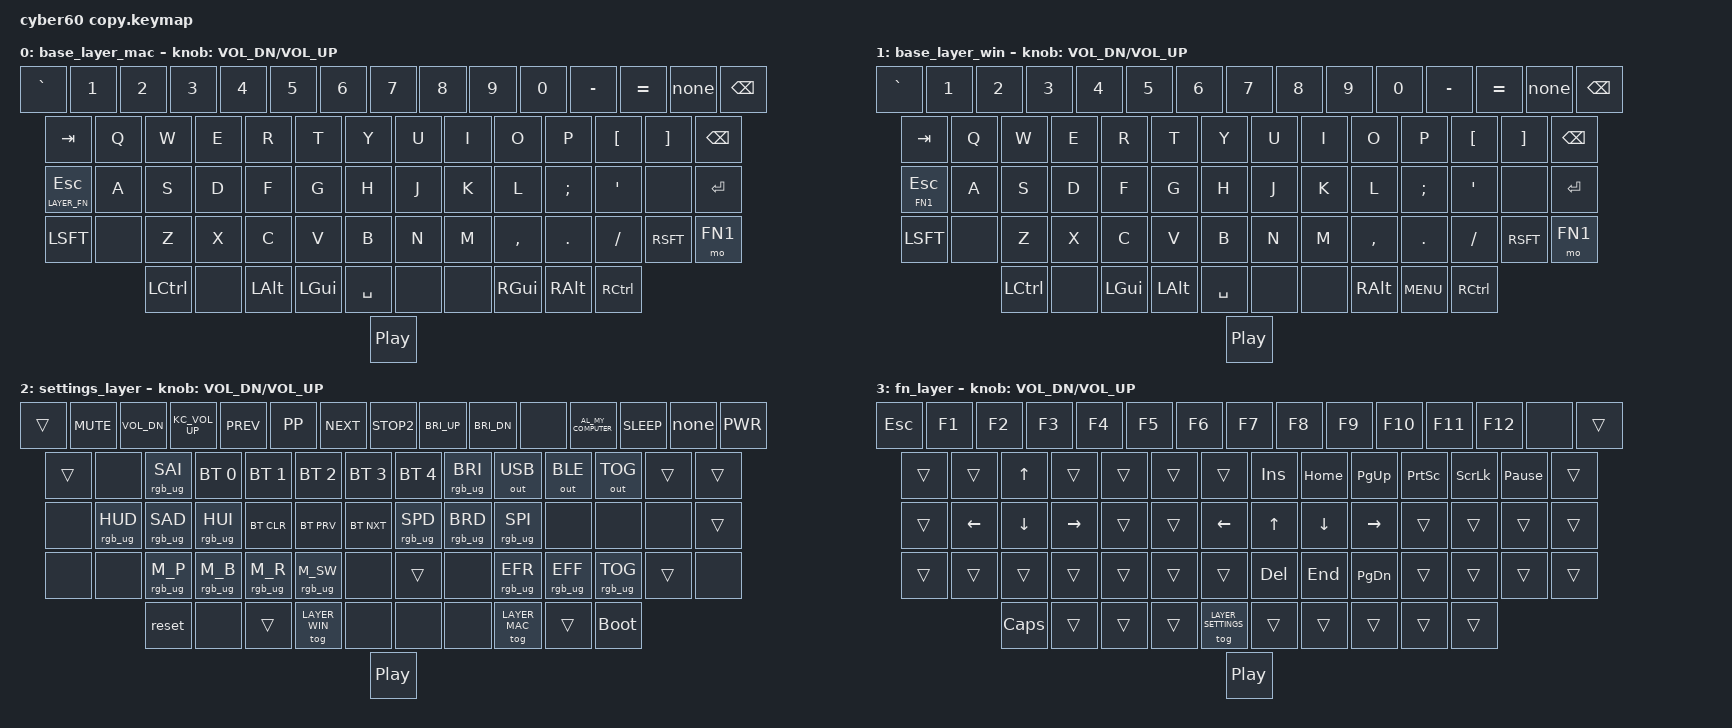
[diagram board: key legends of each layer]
#include <behaviors.dtsi>
#include <dt-bindings/zmk/keys.h>
#include <dt-bindings/zmk/bt.h>
#include <dt-bindings/zmk/outputs.h>
#include <dt-bindings/zmk/rgb.h>
#include <dt-bindings/zmk/ext_power.h>

#define LAYER_FN 3
#define LAYER_SETTINGS 2
#define LAYER_WIN 1
#define LAYER_MAC 0
/ {
	keymap {
		compatible = "zmk,keymap";
		base_layer_mac {
// Base
// ------------------------------------------------------------------------------------------
// | ~ |  1  |  2  |  3  |  4  |  5  |  6  |  7  |  8  |  9  |  0  |  -  |  =  | none  |  ~ |
// | TAB  | Q |  W  |  E  |  R  |  T  |  Y  |  U  |  I  |  O  |  P  |  [  |  ]  |     BKSP  |
// | FN/ESC  |  A  |  S  |  D  |  F  |  G  |  H  |  J  |  K  |  L  |  ;  |  '  |none| ENTER |
// | SHIFT |none| Z |  X  |  C  |  V  |  B  |  N  |  M  |  ,  |  .  |  /  |    SHIFT   | FN |
// |  LCTL  |  none  |  LALT  |  LGUI  | SPACE |    none    |  none |  RWIN | RMENU | RCTRL |
// | Rotary | (<-- Rotary switch) -----------------------------------------------------------
				bindings = <
	&kp GRAVE		 &kp NUM_1 	&kp NUM_2	&kp NUM_3 	&kp NUM_4 &kp NUM_5 &kp NUM_6 	&kp NUM_7 	&kp NUM_8 &kp NUM_9	&kp NUM_0	&kp MINUS	&kp EQL  	&kp none	&kp BKSP
	&kp TAB &kp   Q   	&kp   W   	&kp   E   	&kp   R   &kp   T   &kp   Y   	&kp   U   	&kp   I   &kp   O   &kp   P   	&kp LBKT 	&kp RBKT	&kp BKSP
	&lt LAYER_FN ESC 	 &kp   A   	&kp   S   	&kp   D   	&kp   F   &kp   G   &kp   H   	&kp   J   	&kp   K   &kp   L   &kp  SCLN  	&kp  QUOT   &none		&kp RET
	&kp LSFT 	 &none		&kp   Z   	&kp   X   	&kp   C   &kp   V   &kp   B   	&kp   N   	&kp   M   &kp  CMMA &kp  DOT  	&kp  FSLH	&kp RSFT 	&mo FN1
	&kp LCTL	&none   &kp LALT	&kp LGUI			&kp SPACE		&none  	&none			&kp  RGUI 	&kp RALT	&kp  RCTL
	&kp C_PP
			>;
			sensor-bindings = <&inc_dec_kp C_VOL_DN C_VOL_UP>;
		};
		base_layer_win {
				bindings = <
	&kp GRAVE		 &kp NUM_1 	&kp NUM_2	&kp NUM_3 	&kp NUM_4 &kp NUM_5 &kp NUM_6 	&kp NUM_7 	&kp NUM_8 &kp NUM_9	&kp NUM_0	&kp MINUS	&kp EQL  	&kp none	&kp BKSP
	&kp TAB &kp   Q   	&kp   W   	&kp   E   	&kp   R   &kp   T   &kp   Y   	&kp   U   	&kp   I   &kp   O   &kp   P   	&kp LBKT 	&kp RBKT	&kp BKSP
	&lt FN1 ESC 	 &kp   A   	&kp   S   	&kp   D   	&kp   F   &kp   G   &kp   H   	&kp   J   	&kp   K   &kp   L   &kp  SCLN  	&kp  QUOT   &none		&kp RET
	&kp LSFT 	 &none		&kp   Z   	&kp   X   	&kp   C   &kp   V   &kp   B   	&kp   N   	&kp   M   &kp  CMMA &kp  DOT  	&kp  FSLH	&kp RSFT 	&mo FN1
	&kp LCTL	&none   &kp LGUI	&kp LALT			&kp SPACE		&none  	&none			&kp  RALT 	&kp MENU	&kp  RCTL
	&kp C_PP
			>;
			sensor-bindings = <&inc_dec_kp C_VOL_DN C_VOL_UP>;
		};
		settings_layer {
				bindings = <
	&trans		 &kp K_MUTE 	&kp K_VOL_DN	&kp KC_VOL_UP 	&kp K_PREV &kp K_PP &kp K_NEXT 	&kp K_STOP2 	&kp C_BRI_UP &kp C_BRI_DN	&none	&kp C_AL_MY_COMPUTER	&kp K_SLEEP  	&kp none	&kp K_PWR
	&trans &none   	&rgb_ug   RGB_SAI   	&bt BT_SEL 0   	&bt BT_SEL 1   &bt BT_SEL 2   &bt BT_SEL 3   	&bt BT_SEL 4  	&rgb_ug   RGB_BRI   &out OUT_USB   &out OUT_BLE   	&out OUT_TOG 	&trans	&trans
	&none 	 &rgb_ug   RGB_HUD   	&rgb_ug   RGB_SAD   	&rgb_ug   RGB_HUI   	&bt BT_CLR   &bt BT_PRV   &bt BT_NXT   	&rgb_ug RGB_SPD   	&rgb_ug   RGB_BRD   &rgb_ug  RGB_SPI   &none  	&none   &none		&trans
	&none 	 &none		&rgb_ug   RGB_M_P   	&rgb_ug   RGB_M_B   	&rgb_ug   RGB_M_R   &rgb_ug   RGB_M_SW   &none   	&trans   	&none   &rgb_ug  RGB_EFR  &rgb_ug RGB_EFF  	&rgb_ug  RGB_TOG	&trans 	&none
	&reset	&none   &trans &tog LAYER_WIN			&none		&none  	&none			&tog LAYER_MAC 	&trans	&bootloader
	&kp C_PP
			>;
			sensor-bindings = <&inc_dec_kp C_VOL_DN C_VOL_UP>;
		};	
		fn_layer {
			bindings = <
	&kp ESC 	&kp F1		&kp F2 	 		&kp F3			&kp F4			&kp F5			&kp F6			&kp F7			&kp F8			&kp F9			&kp F10		&kp F11		&kp F12			&none	&trans
	&trans			&trans  &kp UP   		&trans		&trans			&trans			&trans			&kp INS			&kp HOME			&kp PG_UP			&kp PSCRN	&kp SLCK		&kp PAUSE_BREAK	&trans
	&trans		&kp LEFT   	&kp DOWN		&kp RIGHT		&trans		&trans			&kp LEFT	&kp UP	&kp DOWN	&kp RIGHT		&trans	&trans	&trans		&trans
	&trans 			&trans   	&trans   	&trans	 	&trans 		&trans	&trans 	&kp DEL		&kp END	&kp PG_DN			&trans	&trans &trans 		&trans
	&kp CAPS			&trans   	&trans         &trans			&tog LAYER_SETTINGS			&trans  		&trans  		&trans			&trans			&trans
	&kp C_PP
			>;
			sensor-bindings = <&inc_dec_kp C_VOL_DN C_VOL_UP>;
		};
	};
};
